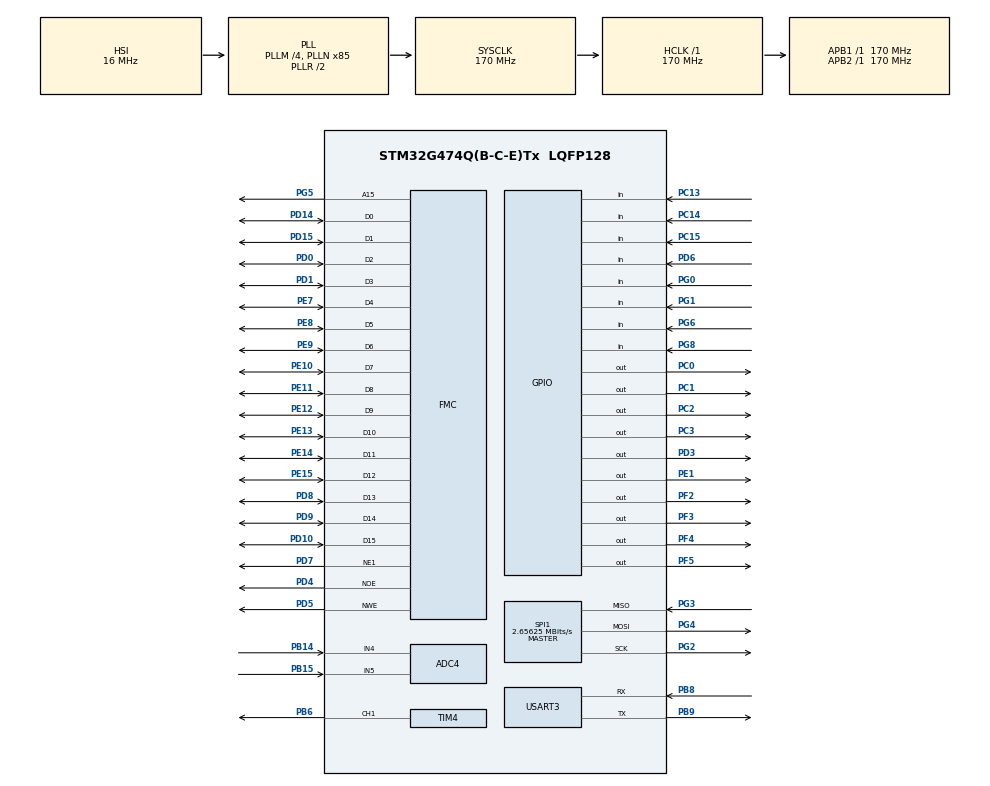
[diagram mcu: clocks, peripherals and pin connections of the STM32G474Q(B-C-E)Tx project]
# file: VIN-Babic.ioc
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ADC4.Channel-0\#ChannelRegularConversion=ADC_CHANNEL_4
ADC4.Channel-1\#ChannelRegularConversion=ADC_CHANNEL_5
ADC4.DMAContinuousRequests=ENABLE
ADC4.ExternalTrigConv=ADC_EXTERNALTRIG_T1_TRGO
ADC4.NbrOfConversion=2
ADC4.NbrOfConversionFlag=1
ADC4.OffsetNumber-0\#ChannelRegularConversion=ADC_OFFSET_NONE
ADC4.OffsetNumber-1\#ChannelRegularConversion=ADC_OFFSET_NONE
ADC4.Rank-0\#ChannelRegularConversion=1
ADC4.Rank-1\#ChannelRegularConversion=2
ADC4.SamplingTime-0\#ChannelRegularConversion=ADC_SAMPLETIME_640CYCLES_5
ADC4.SamplingTime-1\#ChannelRegularConversion=ADC_SAMPLETIME_640CYCLES_5
Dma.ADC4.1.Direction=DMA_PERIPH_TO_MEMORY
Dma.ADC4.1.EventEnable=DISABLE
Dma.ADC4.1.Instance=DMA1_Channel1
Dma.ADC4.1.MemDataAlignment=DMA_MDATAALIGN_HALFWORD
Dma.ADC4.1.MemInc=DMA_MINC_ENABLE
Dma.ADC4.1.Mode=DMA_CIRCULAR
Dma.ADC4.1.PeriphDataAlignment=DMA_PDATAALIGN_HALFWORD
Dma.ADC4.1.PeriphInc=DMA_PINC_DISABLE
Dma.ADC4.1.Polarity=HAL_DMAMUX_REQ_GEN_RISING
Dma.ADC4.1.Priority=DMA_PRIORITY_LOW
Dma.ADC4.1.RequestNumber=1
Dma.ADC4.1.SignalID=NONE
Dma.ADC4.1.SyncEnable=DISABLE
Dma.ADC4.1.SyncPolarity=HAL_DMAMUX_SYNC_NO_EVENT
Dma.ADC4.1.SyncRequestNumber=1
Dma.ADC4.1.SyncSignalID=NONE
Dma.MEMTOMEM.0.Direction=DMA_MEMORY_TO_MEMORY
Dma.MEMTOMEM.0.EventEnable=DISABLE
Dma.MEMTOMEM.0.Instance=DMA1_Channel2
Dma.MEMTOMEM.0.MemDataAlignment=DMA_MDATAALIGN_HALFWORD
Dma.MEMTOMEM.0.MemInc=DMA_MINC_DISABLE
Dma.MEMTOMEM.0.Mode=DMA_NORMAL
Dma.MEMTOMEM.0.PeriphDataAlignment=DMA_PDATAALIGN_HALFWORD
Dma.MEMTOMEM.0.PeriphInc=DMA_PINC_ENABLE
Dma.MEMTOMEM.0.Polarity=HAL_DMAMUX_REQ_GEN_RISING
Dma.MEMTOMEM.0.Priority=DMA_PRIORITY_LOW
Dma.MEMTOMEM.0.RequestNumber=1
Dma.MEMTOMEM.0.SignalID=NONE
Dma.MEMTOMEM.0.SyncEnable=DISABLE
Dma.MEMTOMEM.0.SyncPolarity=HAL_DMAMUX_SYNC_NO_EVENT
Dma.MEMTOMEM.0.SyncRequestNumber=1
Dma.MEMTOMEM.0.SyncSignalID=NONE
Dma.Request0=MEMTOMEM
Dma.Request1=ADC4
FMC.AddressSetupTime1=1
FMC.BusTurnAroundDuration1=1
FMC.DataHoldTime1=1
FMC.DataSetupTime1=1
Mcu.Family=STM32G4
Mcu.Name=STM32G474Q(B-C-E)Tx
Mcu.Package=LQFP128
NVIC.DMA1_Channel1_IRQn=true\:0\:0\:false\:false\:true\:false\:true\:true
NVIC.DMA1_Channel2_IRQn=true\:0\:0\:false\:false\:true\:true\:true\:true
NVIC.PriorityGroup=NVIC_PRIORITYGROUP_4
NVIC.TIM6_DAC_IRQn=true\:15\:0\:true\:false\:true\:true\:true\:true
NVIC.USART3_IRQn=true\:0\:0\:false\:false\:true\:true\:true\:true
PB14.Mode=IN4-Single-Ended
PB14.Signal=ADC4_IN4
PB15.Mode=IN5-Single-Ended
PB15.Signal=ADC4_IN5
PB6.Signal=S_TIM4_CH1
PB8-BOOT0.Mode=Asynchronous
PB8-BOOT0.Signal=USART3_RX
PB9.Mode=Asynchronous
PB9.Signal=USART3_TX
PC0.Signal=GPIO_Output
PC1.Signal=GPIO_Output
PC13.GPIO_PuPd=GPIO_PULLUP
PC13.Signal=GPIO_Input
PC14-OSC32_IN.GPIO_PuPd=GPIO_PULLUP
PC14-OSC32_IN.Signal=GPIO_Input
PC15-OSC32_OUT.GPIO_PuPd=GPIO_PULLUP
PC15-OSC32_OUT.Signal=GPIO_Input
PC2.Signal=GPIO_Output
PC3.GPIO_ModeDefaultOutputPP=GPIO_MODE_OUTPUT_PP
PC3.GPIO_PuPd=GPIO_PULLUP
PC3.Signal=GPIO_Output
PD0.Signal=FMC_D2_DA2
PD1.Signal=FMC_D3_DA3
PD10.Signal=FMC_D15_DA15
PD14.Signal=FMC_D0_DA0
PD15.Signal=FMC_D1_DA1
PD3.Signal=GPIO_Output
PD4.Signal=FMC_NOE
PD5.Signal=FMC_NWE
PD6.Signal=GPIO_Input
PD7.Mode=NorPsramChipSelect1_1
PD7.Signal=FMC_NE1
PD8.Signal=FMC_D13_DA13
PD9.Signal=FMC_D14_DA14
PE1.Signal=GPIO_Output
PE10.Signal=FMC_D7_DA7
PE11.Signal=FMC_D8_DA8
PE12.Signal=FMC_D9_DA9
PE13.Signal=FMC_D10_DA10
PE14.Signal=FMC_D11_DA11
PE15.Signal=FMC_D12_DA12
PE7.Signal=FMC_D4_DA4
PE8.Signal=FMC_D5_DA5
PE9.Signal=FMC_D6_DA6
PF2.Signal=GPIO_Output
PF3.Signal=GPIO_Output
PF4.Signal=GPIO_Output
PF5.Signal=GPIO_Output
PG0.GPIO_Mode=GPIO_MODE_INPUT
PG0.GPIO_PuPd=GPIO_PULLUP
PG0.Signal=GPIO_Input
PG1.GPIO_Mode=GPIO_MODE_INPUT
PG1.GPIO_PuPd=GPIO_PULLUP
PG1.Signal=GPIO_Input
PG2.Mode=Full_Duplex_Master
PG2.Signal=SPI1_SCK
PG3.Mode=Full_Duplex_Master
PG3.Signal=SPI1_MISO
PG4.Mode=Full_Duplex_Master
PG4.Signal=SPI1_MOSI
PG5.Signal=FMC_A15
PG6.GPIO_Mode=GPIO_MODE_INPUT
PG6.GPIO_PuPd=GPIO_PULLUP
PG6.Signal=GPIO_Input
PG8.GPIO_Mode=GPIO_MODE_INPUT
PG8.GPIO_PuPd=GPIO_PULLUP
PG8.Signal=GPIO_Input
ProjectManager.HeapSize=0x200
ProjectManager.StackSize=0x400
ProjectManager.TargetToolchain=STM32CubeIDE
RCC.ADC12Freq_Value=170000000
RCC.ADC345Freq_Value=170000000
RCC.AHBFreq_Value=170000000
RCC.APB1Freq_Value=170000000
RCC.APB1TimFreq_Value=170000000
RCC.APB2Freq_Value=170000000
RCC.APB2TimFreq_Value=170000000
RCC.CortexFreq_Value=170000000
RCC.EXTERNAL_CLOCK_VALUE=12288000
RCC.HCLKFreq_Value=170000000
RCC.HSE_VALUE=8000000
RCC.HSI48_VALUE=48000000
RCC.HSI_VALUE=16000000
RCC.LSE_VALUE=32768
RCC.PLLM=RCC_PLLM_DIV4
RCC.PLLN=85
RCC.PLLQ=RCC_PLLQ_DIV6
RCC.SYSCLKFreq_VALUE=170000000
RCC.SYSCLKSource=RCC_SYSCLKSOURCE_PLLCLK
RCC.USBFreq_Value=56666666.666666664
RCC.VCOOutputFreq_Value=340000000
SH.FMC_A15.0=FMC_A15,A15_1
SH.FMC_D0_DA0.0=FMC_D0,16b-d1
SH.FMC_D10_DA10.0=FMC_D10,16b-d1
SH.FMC_D11_DA11.0=FMC_D11,16b-d1
SH.FMC_D12_DA12.0=FMC_D12,16b-d1
SH.FMC_D13_DA13.0=FMC_D13,16b-d1
SH.FMC_D14_DA14.0=FMC_D14,16b-d1
SH.FMC_D15_DA15.0=FMC_D15,16b-d1
SH.FMC_D1_DA1.0=FMC_D1,16b-d1
SH.FMC_D2_DA2.0=FMC_D2,16b-d1
SH.FMC_D3_DA3.0=FMC_D3,16b-d1
SH.FMC_D4_DA4.0=FMC_D4,16b-d1
SH.FMC_D5_DA5.0=FMC_D5,16b-d1
SH.FMC_D6_DA6.0=FMC_D6,16b-d1
SH.FMC_D7_DA7.0=FMC_D7,16b-d1
SH.FMC_D8_DA8.0=FMC_D8,16b-d1
SH.FMC_D9_DA9.0=FMC_D9,16b-d1
SH.FMC_NOE.0=FMC_NOE,Lcd1
SH.FMC_NWE.0=FMC_NWE,Lcd1
SH.S_TIM4_CH1.0=TIM4_CH1,PWM Generation1 CH1
SPI1.BaudRatePrescaler=SPI_BAUDRATEPRESCALER_64
SPI1.CalculateBaudRate=2.65625 MBits/s
SPI1.DataSize=SPI_DATASIZE_8BIT
SPI1.Direction=SPI_DIRECTION_2LINES
SPI1.Mode=SPI_MODE_MASTER
SPI1.NSSPMode=SPI_NSS_PULSE_DISABLE
SPI1.VirtualType=VM_MASTER
TIM1.PeriodNoDither=9999
TIM1.TIM_MasterOutputTrigger=TIM_TRGO_UPDATE
TIM4.Channel-PWM\ Generation1\ CH1=TIM_CHANNEL_1
TIM4.PeriodNoDither=99
TIM4.Prescaler=1440
TIM6.PeriodNoDither=49999
TIM6.Prescaler=144
USART3.OverrunDisableParam=ADVFEATURE_OVERRUN_DISABLE
USART3.VirtualMode-Asynchronous=VM_ASYNC
VP_CORDIC_VS_CORDIC.Mode=CORDIC_Activate
VP_SYS_VS_DBSignals.Mode=DisableDeadBatterySignals
VP_TIM1_VS_ClockSourceINT.Mode=Internal
VP_TIM4_VS_ClockSourceINT.Mode=Internal
VP_TIM6_VS_ClockSourceINT.Mode=Enable_Timer
board=custom

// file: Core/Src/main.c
/* USER CODE BEGIN Header */
/**
 ******************************************************************************
 * @file           : main.c
 * @brief          : Main program body
 ******************************************************************************
 * @attention
 *
 * Copyright (c) 2022 STMicroelectronics.
 * All rights reserved.
 *
 * This software is licensed under terms that can be found in the LICENSE file
 * in the root directory of this software component.
 * If no LICENSE file comes with this software, it is provided AS-IS.
 *
 ******************************************************************************
 */
/* USER CODE END Header */
#include "main.h"

/* USER CODE BEGIN Includes */
#include "led.h"
#include "kbd.h"
#include "SCI.h"
#include "timing_utils.h"
#include "periodic_services.h"
#include "lcd.h"
#include "math.h"
#include <stdio.h>
#include <stdlib.h>
#include "ugui.h"
#include "podatki.h"
#include "pomozne_funkcije.h"
#include "ray_funkcije.h"
#include "joystick.h"

#include "t_brickWall.ppm"
#include "t_wall.ppm"
#include "t_wood.ppm"
#include "t_floor.ppm"
#include "hitler_sprite.ppm"

/* USER CODE END Includes */

ADC_HandleTypeDef hadc4;
DMA_HandleTypeDef hdma_adc4;

CORDIC_HandleTypeDef hcordic;

SPI_HandleTypeDef hspi1;

TIM_HandleTypeDef htim1;

DMA_HandleTypeDef hdma_memtomem_dma1_channel2;
SRAM_HandleTypeDef hsram1;

void SystemClock_Config(void);
static void MX_GPIO_Init(void);
static void MX_USART3_UART_Init(void);
static void MX_TIM6_Init(void);
static void MX_TIM4_Init(void);
static void MX_FMC_Init(void);
static void MX_DMA_Init(void);
static void MX_SPI1_Init(void);
static void MX_CORDIC_Init(void);
static void MX_ADC4_Init(void);
static void MX_TIM1_Init(void);

/* USER CODE BEGIN 0 */

int f32_to_q31(double input){
	const float Q31_MAX_F = 0x0.FFFFFFp0F;
	const float Q31_MIX_F = -1.0F;
	return (int)roundf(scalbnf(fmaxf(fminf(input, Q31_MAX_F), Q31_MIX_F), 31));
}

float q31_to_f32(int x)
{
	float out = ldexp((int32_t) x, -31);
	return out;
}

inline float sin_cordic(float a){

	int32_t inp = f32_to_q31(fmod(a, 2.0f*PI) / (2.0f * PI)) << 1;
	int32_t out;
	CORDIC_ConfigTypeDef sConfig;
	sConfig.Function = CORDIC_FUNCTION_SINE;
	sConfig.Precision = CORDIC_PRECISION_6CYCLES;
	sConfig.Scale = CORDIC_SCALE_0;
	sConfig.NbWrite = CORDIC_NBWRITE_1;
	sConfig.NbRead = CORDIC_NBREAD_1;
	sConfig.InSize = CORDIC_INSIZE_32BITS;
	sConfig.OutSize = CORDIC_OUTSIZE_32BITS;
	HAL_CORDIC_Configure(&hcordic, &sConfig);

	HAL_CORDIC_CalculateZO(&hcordic, &inp, &out, 1, 0);
	return q31_to_f32(out);
}

inline float cos_cordic(float a){

	int32_t inp = f32_to_q31(fmod(a, 2.0f*PI) / (2.0f * PI)) << 1;
	int32_t out;
	CORDIC_ConfigTypeDef sConfig;
	sConfig.Function = CORDIC_FUNCTION_COSINE;
	sConfig.Precision = CORDIC_PRECISION_6CYCLES;
	sConfig.Scale = CORDIC_SCALE_0;
	sConfig.NbWrite = CORDIC_NBWRITE_1;
	sConfig.NbRead = CORDIC_NBREAD_1;
	sConfig.InSize = CORDIC_INSIZE_32BITS;
	sConfig.OutSize = CORDIC_OUTSIZE_32BITS;
	HAL_CORDIC_Configure(&hcordic, &sConfig);

	HAL_CORDIC_CalculateZO(&hcordic, &inp, &out, 1, 0);
	return q31_to_f32(out);
}

/* USER CODE END 0 */

int main(void)
{

	/* MCU Configuration--------------------------------------------------------*/

	/* Reset of all peripherals, Initializes the Flash interface and the Systick. */
	HAL_Init();

	/* Configure the system clock */
	SystemClock_Config();

	/* Initialize all configured peripherals */
	MX_GPIO_Init();
	MX_USART3_UART_Init();
	MX_TIM6_Init();
	MX_TIM4_Init();
	MX_FMC_Init();
	MX_DMA_Init();
	MX_SPI1_Init();
	MX_CORDIC_Init();
	MX_TIM1_Init();
	/* USER CODE BEGIN 2 */
	MX_ADC4_Init();
	LED_init();
	KBD_init();
	SCI_init();
	PSERV_init();
	PSERV_enable();
	JOY_init(&hadc4, &htim1);
	LCD_Init();
	LCD_uGUI_init();
	//LED_on(LED1);
	//DEFINIRAJ SPRITE
	sp[0].tip = 0; sp[0].map = 0; sp[0].x = 1.5 * Blocksize; sp[0].y = 5 * Blocksize; sp[0].sizeX = 128; sp[0].sizeY = 128; sp[0].life = 3;
	sp[0].damadgedTime = 0; sp[0].damadgedTimeMax = 300000;
	sp[1].tip = 0; sp[1].map = 0; sp[1].x = 2.5 * Blocksize; sp[1].y = 7.5 * Blocksize; sp[1].sizeX = 128; sp[1].sizeY = 128; sp[1].life = 3;
	sp[1].damadgedTime = 0; sp[1].damadgedTimeMax = 300000;

	UG_FillFrame(0, 0, 40, s_height, C_BLACK);
	UG_FillFrame(280, 0, 40, s_height+50, C_BLACK);
	for(int c = 0;c < 20;c++)
	{
		UG_PutChar('F', 10, c*15, C_RED, C_BLACK);
		UG_PutChar('R', 20, c*15, C_RED, C_BLACK);
		UG_PutChar('I', 30, c*15, C_RED, C_BLACK);

		UG_PutChar('F', 280+10, c*15, C_RED, C_BLACK);
		UG_PutChar('E', 280+20, c*15, C_RED, C_BLACK);
	}

	//test_sprite();

	/* USER CODE END 2 */

	/* Infinite loop */
	/* USER CODE BEGIN WHILE */

	//ILI9341_SetDisplayWindow(0, 0, 240, 240);
	stopwatch_handle_t sw;
	TIMUT_stopwatch_set_time_mark(&sw);
	while (1)
	{
		//JOY_SCI_send_status();
		//printf("test");
		if(TIMUT_stopwatch_has_X_ms_passed(&sw, 50))
		{
			//drawMap();

			float dx = 0, dy = 0, d1 = 10000, d2 = 10000, rvx = 0, rvy = 0, dof = 0,  newAngle = 0, rhx = 0, rhy = 0,d = 0, rx= 0, ry=0;
			int wx = 0, wy = 0;
			KBD_scan();

			//MOVE PLAYER
			if(JOY_get_axis_position(Y) < 40)
			{
				if(JOY_get_axis_position(X) < 40) angle += 0.1;
				if(JOY_get_axis_position(X) > 60) angle -= 0.1;
			}else
			{
				if(JOY_get_axis_position(X) < 40) angle -= 0.1;
				if(JOY_get_axis_position(X) > 60) angle += 0.1;
			}
			if (angle < 0) angle = 2 * PI;
			else if (angle > 2 * PI) angle = 0;

			//POGLEJ A SE PLAYER LAHKO PREMAKNE
			int fCheck = 5;
			int fCheckX = 0, fCheckY = 0;
			if (cos_cordic(angle) < 0) fCheckX = -fCheck;
			else fCheckX = fCheck;
			if (sin_cordic(angle) < 0) fCheckY = -fCheck;
			else fCheckY = fCheck;

			if (JOY_get_axis_position(Y) > 60) {
				if(map[(int)py / 10][((int)px + fCheckX) / 10] == 0) px += 3 * cos_cordic(angle);
				if (map[((int)py + fCheckY) / 10][(int)px/ 10] == 0) py += 3 * sin_cordic(angle);
				//LED_on(LED0);
			}else LED_off(LED0);
			if (JOY_get_axis_position(Y) < 40) {
				if (map[(int)py / 10][((int)px - fCheckX) / 10] == 0) px += -3 * cos_cordic(angle);
				if (map[((int)py - fCheckY) / 10][(int)px / 10] == 0) py += -3 * sin_cordic(angle);
				//LED_on(LED0);
			}else LED_off(LED0);

			//DA LAHKO IGRALEC ODPRE VRATA
			float roka = 6;
			float rokaPosX = px + roka * cos_cordic(angle);
			float rokaPosY = py + roka * sin_cordic(angle);
			if (!KBD_get_button_state(BTN_OK) && map[(int)rokaPosY / Blocksize][(int)rokaPosX / Blocksize] == 3) map[(int)rokaPosY / Blocksize][(int)rokaPosX / Blocksize] = 0;

			for (float z = -30;z < 30;z+=1) { //LOOPEJ OD - 30STOPINJ DO 30 STOPINJ
				float vmt = 0, hmt = 0; //HORIZONTALNA IN VERTIKALNA ŠTEVILKA STENE DA VEM KATERO TEKSTURO NARISAT
				float newAngle = z * DEGREE + angle;
				if (newAngle < 0) newAngle += 2 * PI;
				else if (newAngle > 2 * PI) newAngle -= 2 * PI;

				//GLEJ GOR PA DOL
				float aTan = 1 / tanf(newAngle);
				dof = 0;
				if (newAngle >= PI) { //GLEDA GOR
					rvy = (int)py - ((int)py % Blocksize) - 0.0001;
					rvx = (py - rvy) * -aTan + px;
					dy = -Blocksize;
					dx = dy * aTan;
				}
				else if (newAngle < PI) {  //GLEDA DOL
					rvy = (int)py - ((int)py % Blocksize) + Blocksize;
					rvx = (py - rvy) * -aTan + px;
					dy = Blocksize;
					dx = dy * aTan;
				}
				else if (newAngle == 0 || newAngle == PI) { // GLEDA  CIST LECVO ALPA CIST DESNO
					rvx = px;
					rvy = py;
					dof = 15;
				}

				while (dof < 15) { //PREVER ALI SE KAM ZALETI V 15 KORAKIH
					wx = rvx / Blocksize;
					wy = rvy / Blocksize;
					if (wx > -1 && wx < sizeof(map)/sizeof(map[0]) && wy > -1 && wy < sizeof(map)/sizeof(map[0]) && map[(int)wy][(int)wx] != 0) {
						dof = 15;
						vmt = map[(int)wy][(int)wx];
					}
					else {
						rvx += dx;
						rvy += dy;
						dof++;
					}
				}
				d1 = sqrt((px - rvx) * (px - rvx) + (py - rvy) * (py - rvy));

				//GLEJ LEVO PA DESNO
				dof = 0;
				float nTan = tanf(newAngle);
				if (newAngle >= ((3 * PI) / 2) || newAngle <= PI / 2) { //GLEDA DESNO
					rhx = (int)px - ((int)px % Blocksize) + Blocksize;
					rhy = (px - rhx) * -nTan + py;
					dx = Blocksize;
					dy = dx * nTan;
				}
				else if (newAngle > PI / 2 && newAngle < (3 * PI) / 2) {  //GLEDA LEVO
					rhx = (int)px - ((int)px % Blocksize) - 0.0001;
					rhy = (px - rhx) * -nTan + py;
					dx = -Blocksize;
					dy = dx * nTan;
				}
				else if (newAngle == PI / 2 || newAngle == (3 * PI) / 2) {
					rhx = px;
					rhy = py;
					dof = 15;
				}

				while (dof < 15) { //PREVERI ALI SI SE ZALETU V 15 KORAKIH
					wx = rhx / Blocksize;
					wy = rhy / Blocksize;
					if (wx > -1 && wx < sizeof(map)/sizeof(map[0]) && wy > -1 && wy < sizeof(map)/sizeof(map[0]) && map[wy][wx] != 0) {
						dof = 15;
						hmt = map[wy][wx];
					}
					else {
						rhx += dx;
						rhy += dy;
						dof++;
					}
				}
				d2 = sqrt((px - rhx) * (px - rhx) + (py - rhy) * (py - rhy));

				//NARIŠI ZARKE IN 3D MAPO
				float shade = 1;
				if (d1 > d2) {
					d = d2;
					shade = 0.5;
					rx = rhx;
					ry = rhy;
				}
				else {
					d = d1;
					rx = rvx;
					ry = rvy;
					hmt = vmt; //DA SE OBARVAJO VSE STRANI
				}
				//NARIŠI STENE
				float lineH = (Blocksize * 100) / (d * cos_cordic(z * DEGREE)); //POPRAVI FISHEYE
				float ty_step = 32.0f / (float)lineH; //ZATO DA SE TEKSTURA ENAKOMERNO PORAZDELI
				float ty_offset = 0; //ZATO DA SE TEKSTURE LEPO PORAZDELIJO
				if (lineH > height) {
					ty_offset = (lineH - height) / 2.0f;
					lineH = height;
				}
				float lineOff = 50 - lineH / 2;
				float ty = ty_offset * ty_step; //+ (hmt - 1) * 32;
				float scale = (float)Blocksize / 32.0f;
				float tx = 0;
				if (shade == 1) {
					tx = (int)(rx / scale) % 32;
					if (newAngle < 2 * PI) tx = 31 - tx;
				}
				else {
					tx = (int)(ry / scale) % 32;
					if (newAngle > PI / 2 && newAngle < (3 * PI) / 2) tx = 31 - tx;
				}

				for (int j = 0;j < lineH;j++) {

					int pixel = ((int)ty * 32 + (int)tx) * 3;
					int red = 0, blue = 0, green = 0;
					switch ((int)hmt)
					{
					case 1:
						red = t_brickWall[pixel + 0] * shade;
						green = t_brickWall[pixel + 1] * shade;
						blue = t_brickWall[pixel + 2] * shade;
						break;
					case 2:
						red = t_wall[pixel + 0] * shade;
						green = t_wall[pixel + 1] * shade;
						blue = t_wall[pixel + 2] * shade;
						break;
					case 3:
						red = t_wood[pixel + 0] * shade;
						green = t_wood[pixel + 1] * shade;
						blue = t_wood[pixel + 2] * shade;
						break;

					default:
						break;
					}
					int wallx = (int)((float)(z+30)*width/60);
					int wally = lineOff + j;

					wallx *= s_scale;
					wallx += s_offset;

					wally *= s_scale;

					narisi_velik_kvadrat_stene(wallx, wally, create_rgb(red, green, blue));
					ty += ty_step;
				}

				//NARIŠI TLA IN STROP
				for (int y = lineOff + lineH;y < height;y++) {
					float dy = y - (height / 2.0f);
					float floorAngle = (angle - newAngle);
					if (floorAngle < 0) floorAngle += 2 * PI;
					else if (floorAngle > 2 * PI) floorAngle -= 2 * PI;
					tx = px / 0.3 + cos_cordic(newAngle) * 57.735 * 32 / dy / cos_cordic(floorAngle);
					ty = py / 0.3 + sin_cordic(newAngle) * 57.735 * 32 / dy / cos_cordic(floorAngle);

					int pixel = (((int)(ty) & 31) * 32 + ((int)(tx)&31)) * 3;
					int red = t_floor[pixel + 0] * 0.7;
					int green = t_floor[pixel + 1] * 0.7;
					int blue = t_floor[pixel + 2] * 0.7;
					int tlax = (int)((float)(z+30)*width/60);
					int tlay = y;

					tlax *= s_scale;
					tlax += s_offset;

					tlay *= s_scale;

					narisi_velik_kvadrat_stene(tlax, tlay, create_rgb(red, green, blue));

					//NARISI STROP
					pixel = (((int)(ty) & 31) * 32 + ((int)(tx) & 31)) * 3;
					red = t_wall[pixel + 0] * 0.7;
					green = t_wall[pixel + 1] * 0.7;
					blue = t_wall[pixel + 2] * 0.7;
					int stropx = (int)((float)((z+30)*width)/60);
					int stropy = height - y;

					stropx *= s_scale;
					stropx += s_offset;

					stropy *= s_scale;

					narisi_velik_kvadrat_stene(stropx, stropy, create_rgb(red, green, blue));
				}

			}

			drawGun();
			ILI9341_SetDisplayWindow(40, 0, 240, 240);
			if(ILI9341_SendData(pixels, 57600)) LED_on(LED0);
			else LED_off(LED0);
			TIMUT_stopwatch_set_time_mark(&sw);
		}

		/* USER CODE END WHILE */

	}
}

void SystemClock_Config(void)
{
	RCC_OscInitTypeDef RCC_OscInitStruct = {0};
	RCC_ClkInitTypeDef RCC_ClkInitStruct = {0};

	/** Configure the main internal regulator output voltage
	 */
	HAL_PWREx_ControlVoltageScaling(PWR_REGULATOR_VOLTAGE_SCALE1_BOOST);
	/** Initializes the RCC Oscillators according to the specified parameters
	 * in the RCC_OscInitTypeDef structure.
	 */
	RCC_OscInitStruct.OscillatorType = RCC_OSCILLATORTYPE_HSI;
	RCC_OscInitStruct.HSIState = RCC_HSI_ON;
	RCC_OscInitStruct.HSICalibrationValue = RCC_HSICALIBRATION_DEFAULT;
	RCC_OscInitStruct.PLL.PLLState = RCC_PLL_ON;
	RCC_OscInitStruct.PLL.PLLSource = RCC_PLLSOURCE_HSI;
	RCC_OscInitStruct.PLL.PLLM = RCC_PLLM_DIV4;
	RCC_OscInitStruct.PLL.PLLN = 85;
	RCC_OscInitStruct.PLL.PLLP = RCC_PLLP_DIV2;
	RCC_OscInitStruct.PLL.PLLQ = RCC_PLLQ_DIV6;
	RCC_OscInitStruct.PLL.PLLR = RCC_PLLR_DIV2;
	if (HAL_RCC_OscConfig(&RCC_OscInitStruct) != HAL_OK)
	{
		Error_Handler();
	}
	/** Initializes the CPU, AHB and APB buses clocks
	 */
	RCC_ClkInitStruct.ClockType = RCC_CLOCKTYPE_HCLK|RCC_CLOCKTYPE_SYSCLK
			|RCC_CLOCKTYPE_PCLK1|RCC_CLOCKTYPE_PCLK2;
	RCC_ClkInitStruct.SYSCLKSource = RCC_SYSCLKSOURCE_PLLCLK;
	RCC_ClkInitStruct.AHBCLKDivider = RCC_SYSCLK_DIV1;
	RCC_ClkInitStruct.APB1CLKDivider = RCC_HCLK_DIV1;
	RCC_ClkInitStruct.APB2CLKDivider = RCC_HCLK_DIV1;

	if (HAL_RCC_ClockConfig(&RCC_ClkInitStruct, FLASH_LATENCY_4) != HAL_OK)
	{
		Error_Handler();
	}
}

static void MX_ADC4_Init(void)
{

	ADC_ChannelConfTypeDef sConfig = {0};

	/** Common config
	 */
	hadc4.Instance = ADC4;
	hadc4.Init.ClockPrescaler = ADC_CLOCK_SYNC_PCLK_DIV4;
	hadc4.Init.Resolution = ADC_RESOLUTION_12B;
	hadc4.Init.DataAlign = ADC_DATAALIGN_RIGHT;
	hadc4.Init.GainCompensation = 0;
	hadc4.Init.ScanConvMode = ADC_SCAN_ENABLE;
	hadc4.Init.EOCSelection = ADC_EOC_SINGLE_CONV;
	hadc4.Init.LowPowerAutoWait = DISABLE;
	hadc4.Init.ContinuousConvMode = DISABLE;
	hadc4.Init.NbrOfConversion = 2;
	hadc4.Init.DiscontinuousConvMode = DISABLE;
	hadc4.Init.ExternalTrigConv = ADC_EXTERNALTRIG_T1_TRGO;
	hadc4.Init.ExternalTrigConvEdge = ADC_EXTERNALTRIGCONVEDGE_RISING;
	hadc4.Init.DMAContinuousRequests = ENABLE;
	hadc4.Init.Overrun = ADC_OVR_DATA_PRESERVED;
	hadc4.Init.OversamplingMode = DISABLE;
	if (HAL_ADC_Init(&hadc4) != HAL_OK)
	{
		Error_Handler();
	}
	/** Configure Regular Channel
	 */
	sConfig.Channel = ADC_CHANNEL_4;
	sConfig.Rank = ADC_REGULAR_RANK_1;
	sConfig.SamplingTime = ADC_SAMPLETIME_640CYCLES_5;
	sConfig.SingleDiff = ADC_SINGLE_ENDED;
	sConfig.OffsetNumber = ADC_OFFSET_NONE;
	sConfig.Offset = 0;
	if (HAL_ADC_ConfigChannel(&hadc4, &sConfig) != HAL_OK)
	{
		Error_Handler();
	}
	/** Configure Regular Channel
	 */
	sConfig.Channel = ADC_CHANNEL_5;
	sConfig.Rank = ADC_REGULAR_RANK_2;
	if (HAL_ADC_ConfigChannel(&hadc4, &sConfig) != HAL_OK)
	{
		Error_Handler();
	}

}

static void MX_CORDIC_Init(void)
{

	hcordic.Instance = CORDIC;
	if (HAL_CORDIC_Init(&hcordic) != HAL_OK)
	{
		Error_Handler();
	}

}

static void MX_SPI1_Init(void)
{

	/* SPI1 parameter configuration*/
	hspi1.Instance = SPI1;
	hspi1.Init.Mode = SPI_MODE_MASTER;
	hspi1.Init.Direction = SPI_DIRECTION_2LINES;
	hspi1.Init.DataSize = SPI_DATASIZE_8BIT;
	hspi1.Init.CLKPolarity = SPI_POLARITY_LOW;
	hspi1.Init.CLKPhase = SPI_PHASE_1EDGE;
	hspi1.Init.NSS = SPI_NSS_SOFT;
	hspi1.Init.BaudRatePrescaler = SPI_BAUDRATEPRESCALER_64;
	hspi1.Init.FirstBit = SPI_FIRSTBIT_MSB;
	hspi1.Init.TIMode = SPI_TIMODE_DISABLE;
	hspi1.Init.CRCCalculation = SPI_CRCCALCULATION_DISABLE;
	hspi1.Init.CRCPolynomial = 7;
	hspi1.Init.CRCLength = SPI_CRC_LENGTH_DATASIZE;
	hspi1.Init.NSSPMode = SPI_NSS_PULSE_DISABLE;
	if (HAL_SPI_Init(&hspi1) != HAL_OK)
	{
		Error_Handler();
	}

}

static void MX_TIM1_Init(void)
{

	TIM_ClockConfigTypeDef sClockSourceConfig = {0};
	TIM_MasterConfigTypeDef sMasterConfig = {0};

	htim1.Instance = TIM1;
	htim1.Init.Prescaler = 0;
	htim1.Init.CounterMode = TIM_COUNTERMODE_UP;
	htim1.Init.Period = 9999;
	htim1.Init.ClockDivision = TIM_CLOCKDIVISION_DIV1;
	htim1.Init.RepetitionCounter = 0;
	htim1.Init.AutoReloadPreload = TIM_AUTORELOAD_PRELOAD_DISABLE;
	if (HAL_TIM_Base_Init(&htim1) != HAL_OK)
	{
		Error_Handler();
	}
	sClockSourceConfig.ClockSource = TIM_CLOCKSOURCE_INTERNAL;
	if (HAL_TIM_ConfigClockSource(&htim1, &sClockSourceConfig) != HAL_OK)
	{
		Error_Handler();
	}
	sMasterConfig.MasterOutputTrigger = TIM_TRGO_UPDATE;
	sMasterConfig.MasterOutputTrigger2 = TIM_TRGO2_RESET;
	sMasterConfig.MasterSlaveMode = TIM_MASTERSLAVEMODE_DISABLE;
	if (HAL_TIMEx_MasterConfigSynchronization(&htim1, &sMasterConfig) != HAL_OK)
	{
		Error_Handler();
	}

}

static void MX_TIM4_Init(void)
{

	LL_TIM_InitTypeDef TIM_InitStruct = {0};
	LL_TIM_OC_InitTypeDef TIM_OC_InitStruct = {0};

	LL_GPIO_InitTypeDef GPIO_InitStruct = {0};

	/* Peripheral clock enable */
	LL_APB1_GRP1_EnableClock(LL_APB1_GRP1_PERIPH_TIM4);

	TIM_InitStruct.Prescaler = 1440;
	TIM_InitStruct.CounterMode = LL_TIM_COUNTERMODE_UP;
	TIM_InitStruct.Autoreload = 99;
	TIM_InitStruct.ClockDivision = LL_TIM_CLOCKDIVISION_DIV1;
	LL_TIM_Init(TIM4, &TIM_InitStruct);
	LL_TIM_DisableARRPreload(TIM4);
	LL_TIM_SetClockSource(TIM4, LL_TIM_CLOCKSOURCE_INTERNAL);
	LL_TIM_OC_EnablePreload(TIM4, LL_TIM_CHANNEL_CH1);
	TIM_OC_InitStruct.OCMode = LL_TIM_OCMODE_PWM1;
	TIM_OC_InitStruct.OCState = LL_TIM_OCSTATE_DISABLE;
	TIM_OC_InitStruct.OCNState = LL_TIM_OCSTATE_DISABLE;
	TIM_OC_InitStruct.CompareValue = 0;
	TIM_OC_InitStruct.OCPolarity = LL_TIM_OCPOLARITY_HIGH;
	LL_TIM_OC_Init(TIM4, LL_TIM_CHANNEL_CH1, &TIM_OC_InitStruct);
	LL_TIM_OC_DisableFast(TIM4, LL_TIM_CHANNEL_CH1);
	LL_TIM_SetTriggerOutput(TIM4, LL_TIM_TRGO_RESET);
	LL_TIM_DisableMasterSlaveMode(TIM4);
	LL_AHB2_GRP1_EnableClock(LL_AHB2_GRP1_PERIPH_GPIOB);
	/**TIM4 GPIO Configuration
  PB6   ------> TIM4_CH1
	 */
	GPIO_InitStruct.Pin = LL_GPIO_PIN_6;
	GPIO_InitStruct.Mode = LL_GPIO_MODE_ALTERNATE;
	GPIO_InitStruct.Speed = LL_GPIO_SPEED_FREQ_LOW;
	GPIO_InitStruct.OutputType = LL_GPIO_OUTPUT_PUSHPULL;
	GPIO_InitStruct.Pull = LL_GPIO_PULL_NO;
	GPIO_InitStruct.Alternate = LL_GPIO_AF_2;
	LL_GPIO_Init(GPIOB, &GPIO_InitStruct);

}

static void MX_TIM6_Init(void)
{

	LL_TIM_InitTypeDef TIM_InitStruct = {0};

	/* Peripheral clock enable */
	LL_APB1_GRP1_EnableClock(LL_APB1_GRP1_PERIPH_TIM6);

	/* TIM6 interrupt Init */
	NVIC_SetPriority(TIM6_DAC_IRQn, NVIC_EncodePriority(NVIC_GetPriorityGrouping(),15, 0));
	NVIC_EnableIRQ(TIM6_DAC_IRQn);

	TIM_InitStruct.Prescaler = 144;
	TIM_InitStruct.CounterMode = LL_TIM_COUNTERMODE_UP;
	TIM_InitStruct.Autoreload = 49999;
	LL_TIM_Init(TIM6, &TIM_InitStruct);
	LL_TIM_DisableARRPreload(TIM6);
	LL_TIM_SetTriggerOutput(TIM6, LL_TIM_TRGO_RESET);
	LL_TIM_DisableMasterSlaveMode(TIM6);

}

static void MX_USART3_UART_Init(void)
{

	LL_USART_InitTypeDef USART_InitStruct = {0};

	LL_GPIO_InitTypeDef GPIO_InitStruct = {0};
	RCC_PeriphCLKInitTypeDef PeriphClkInit = {0};

	/** Initializes the peripherals clocks
	 */
	PeriphClkInit.PeriphClockSelection = RCC_PERIPHCLK_USART3;
	PeriphClkInit.Usart3ClockSelection = RCC_USART3CLKSOURCE_PCLK1;
	if (HAL_RCCEx_PeriphCLKConfig(&PeriphClkInit) != HAL_OK)
	{
		Error_Handler();
	}

	/* Peripheral clock enable */
	LL_APB1_GRP1_EnableClock(LL_APB1_GRP1_PERIPH_USART3);

	LL_AHB2_GRP1_EnableClock(LL_AHB2_GRP1_PERIPH_GPIOB);
	/**USART3 GPIO Configuration
  PB8-BOOT0   ------> USART3_RX
  PB9   ------> USART3_TX
	 */
	GPIO_InitStruct.Pin = LL_GPIO_PIN_8;
	GPIO_InitStruct.Mode = LL_GPIO_MODE_ALTERNATE;
	GPIO_InitStruct.Speed = LL_GPIO_SPEED_FREQ_LOW;
	GPIO_InitStruct.OutputType = LL_GPIO_OUTPUT_PUSHPULL;
	GPIO_InitStruct.Pull = LL_GPIO_PULL_NO;
	GPIO_InitStruct.Alternate = LL_GPIO_AF_7;
	LL_GPIO_Init(GPIOB, &GPIO_InitStruct);

	GPIO_InitStruct.Pin = LL_GPIO_PIN_9;
	GPIO_InitStruct.Mode = LL_GPIO_MODE_ALTERNATE;
	GPIO_InitStruct.Speed = LL_GPIO_SPEED_FREQ_LOW;
	GPIO_InitStruct.OutputType = LL_GPIO_OUTPUT_PUSHPULL;
	GPIO_InitStruct.Pull = LL_GPIO_PULL_NO;
	GPIO_InitStruct.Alternate = LL_GPIO_AF_7;
	LL_GPIO_Init(GPIOB, &GPIO_InitStruct);

	/* USART3 interrupt Init */
	NVIC_SetPriority(USART3_IRQn, NVIC_EncodePriority(NVIC_GetPriorityGrouping(),0, 0));
	NVIC_EnableIRQ(USART3_IRQn);

	USART_InitStruct.PrescalerValue = LL_USART_PRESCALER_DIV1;
	USART_InitStruct.BaudRate = 115200;
	USART_InitStruct.DataWidth = LL_USART_DATAWIDTH_8B;
	USART_InitStruct.StopBits = LL_USART_STOPBITS_1;
	USART_InitStruct.Parity = LL_USART_PARITY_NONE;
	USART_InitStruct.TransferDirection = LL_USART_DIRECTION_TX_RX;
	USART_InitStruct.HardwareFlowControl = LL_USART_HWCONTROL_NONE;
	USART_InitStruct.OverSampling = LL_USART_OVERSAMPLING_16;
	LL_USART_Init(USART3, &USART_InitStruct);
	LL_USART_SetTXFIFOThreshold(USART3, LL_USART_FIFOTHRESHOLD_1_8);
	LL_USART_SetRXFIFOThreshold(USART3, LL_USART_FIFOTHRESHOLD_1_8);
	LL_USART_DisableFIFO(USART3);
	LL_USART_DisableOverrunDetect(USART3);
	LL_USART_ConfigAsyncMode(USART3);

	LL_USART_Enable(USART3);

	/* Polling USART3 initialisation */
	while((!(LL_USART_IsActiveFlag_TEACK(USART3))) || (!(LL_USART_IsActiveFlag_REACK(USART3))))
	{
	}

}

static void MX_DMA_Init(void)
{

	/* DMA controller clock enable */
	__HAL_RCC_DMAMUX1_CLK_ENABLE();
	__HAL_RCC_DMA1_CLK_ENABLE();

	/* Configure DMA request hdma_memtomem_dma1_channel2 on DMA1_Channel2 */
	hdma_memtomem_dma1_channel2.Instance = DMA1_Channel2;
	hdma_memtomem_dma1_channel2.Init.Request = DMA_REQUEST_MEM2MEM;
	hdma_memtomem_dma1_channel2.Init.Direction = DMA_MEMORY_TO_MEMORY;
	hdma_memtomem_dma1_channel2.Init.PeriphInc = DMA_PINC_ENABLE;
	hdma_memtomem_dma1_channel2.Init.MemInc = DMA_MINC_DISABLE;
	hdma_memtomem_dma1_channel2.Init.PeriphDataAlignment = DMA_PDATAALIGN_HALFWORD;
	hdma_memtomem_dma1_channel2.Init.MemDataAlignment = DMA_MDATAALIGN_HALFWORD;
	hdma_memtomem_dma1_channel2.Init.Mode = DMA_NORMAL;
	hdma_memtomem_dma1_channel2.Init.Priority = DMA_PRIORITY_LOW;
	if (HAL_DMA_Init(&hdma_memtomem_dma1_channel2) != HAL_OK)
	{
		Error_Handler( );
	}

	/* DMA interrupt init */
	/* DMA1_Channel1_IRQn interrupt configuration */
	HAL_NVIC_SetPriority(DMA1_Channel1_IRQn, 0, 0);
	HAL_NVIC_EnableIRQ(DMA1_Channel1_IRQn);
	/* DMA1_Channel2_IRQn interrupt configuration */
	HAL_NVIC_SetPriority(DMA1_Channel2_IRQn, 0, 0);
	HAL_NVIC_EnableIRQ(DMA1_Channel2_IRQn);

}

/* FMC initialization function */
static void MX_FMC_Init(void)
{

	FMC_NORSRAM_TimingTypeDef Timing = {0};

	/** Perform the SRAM1 memory initialization sequence
	 */
	hsram1.Instance = FMC_NORSRAM_DEVICE;
	hsram1.Extended = FMC_NORSRAM_EXTENDED_DEVICE;
	/* hsram1.Init */
	hsram1.Init.NSBank = FMC_NORSRAM_BANK1;
	hsram1.Init.DataAddressMux = FMC_DATA_ADDRESS_MUX_DISABLE;
	hsram1.Init.MemoryType = FMC_MEMORY_TYPE_SRAM;
	hsram1.Init.MemoryDataWidth = FMC_NORSRAM_MEM_BUS_WIDTH_16;
	hsram1.Init.BurstAccessMode = FMC_BURST_ACCESS_MODE_DISABLE;
	hsram1.Init.WaitSignalPolarity = FMC_WAIT_SIGNAL_POLARITY_LOW;
	hsram1.Init.WaitSignalActive = FMC_WAIT_TIMING_BEFORE_WS;
	hsram1.Init.WriteOperation = FMC_WRITE_OPERATION_ENABLE;
	hsram1.Init.WaitSignal = FMC_WAIT_SIGNAL_DISABLE;
	hsram1.Init.ExtendedMode = FMC_EXTENDED_MODE_DISABLE;
	hsram1.Init.AsynchronousWait = FMC_ASYNCHRONOUS_WAIT_DISABLE;
	hsram1.Init.WriteBurst = FMC_WRITE_BURST_DISABLE;
	hsram1.Init.ContinuousClock = FMC_CONTINUOUS_CLOCK_SYNC_ONLY;
	hsram1.Init.WriteFifo = FMC_WRITE_FIFO_ENABLE;
	hsram1.Init.NBLSetupTime = 0;
	hsram1.Init.PageSize = FMC_PAGE_SIZE_NONE;
	hsram1.Init.MaxChipSelectPulse = DISABLE;
	/* Timing */
	Timing.AddressSetupTime = 1;
	Timing.AddressHoldTime = 15;
	Timing.DataSetupTime = 1;
	Timing.DataHoldTime = 1;
	Timing.BusTurnAroundDuration = 1;
	Timing.CLKDivision = 16;
	Timing.DataLatency = 17;
	Timing.AccessMode = FMC_ACCESS_MODE_A;
	/* ExtTiming */

	if (HAL_SRAM_Init(&hsram1, &Timing, NULL) != HAL_OK)
	{
		Error_Handler( );
	}

}

static void MX_GPIO_Init(void)
{
	LL_GPIO_InitTypeDef GPIO_InitStruct = {0};

	/* GPIO Ports Clock Enable */
	LL_AHB2_GRP1_EnableClock(LL_AHB2_GRP1_PERIPH_GPIOC);
	LL_AHB2_GRP1_EnableClock(LL_AHB2_GRP1_PERIPH_GPIOF);
	LL_AHB2_GRP1_EnableClock(LL_AHB2_GRP1_PERIPH_GPIOE);
	LL_AHB2_GRP1_EnableClock(LL_AHB2_GRP1_PERIPH_GPIOB);
	LL_AHB2_GRP1_EnableClock(LL_AHB2_GRP1_PERIPH_GPIOD);
	LL_AHB2_GRP1_EnableClock(LL_AHB2_GRP1_PERIPH_GPIOG);

	/**/
	LL_GPIO_ResetOutputPin(GPIOF, LL_GPIO_PIN_3);

	/**/
	LL_GPIO_ResetOutputPin(GPIOF, LL_GPIO_PIN_4);

	/**/
	LL_GPIO_ResetOutputPin(GPIOF, LL_GPIO_PIN_5);

	/**/
	LL_GPIO_ResetOutputPin(GPIOC, LL_GPIO_PIN_0);

	/**/
	LL_GPIO_ResetOutputPin(GPIOC, LL_GPIO_PIN_1);

	/**/
	LL_GPIO_ResetOutputPin(GPIOC, LL_GPIO_PIN_2);

	/**/
	LL_GPIO_ResetOutputPin(GPIOC, LL_GPIO_PIN_3);

	/**/
	LL_GPIO_ResetOutputPin(GPIOF, LL_GPIO_PIN_2);

	/**/
	LL_GPIO_ResetOutputPin(GPIOD, LL_GPIO_PIN_3);

	/**/
	LL_GPIO_ResetOutputPin(GPIOE, LL_GPIO_PIN_1);

	/**/
	GPIO_InitStruct.Pin = LL_GPIO_PIN_13;
	GPIO_InitStruct.Mode = LL_GPIO_MODE_INPUT;
	GPIO_InitStruct.Pull = LL_GPIO_PULL_UP;
	LL_GPIO_Init(GPIOC, &GPIO_InitStruct);

	/**/
	GPIO_InitStruct.Pin = LL_GPIO_PIN_14;
	GPIO_InitStruct.Mode = LL_GPIO_MODE_INPUT;
	GPIO_InitStruct.Pull = LL_GPIO_PULL_UP;
	LL_GPIO_Init(GPIOC, &GPIO_InitStruct);

	/**/
	GPIO_InitStruct.Pin = LL_GPIO_PIN_15;
	GPIO_InitStruct.Mode = LL_GPIO_MODE_INPUT;
	GPIO_InitStruct.Pull = LL_GPIO_PULL_UP;
	LL_GPIO_Init(GPIOC, &GPIO_InitStruct);

	/**/
	GPIO_InitStruct.Pin = LL_GPIO_PIN_3;
	GPIO_InitStruct.Mode = LL_GPIO_MODE_OUTPUT;
	GPIO_InitStruct.Speed = LL_GPIO_SPEED_FREQ_LOW;
	GPIO_InitStruct.OutputType = LL_GPIO_OUTPUT_PUSHPULL;
	GPIO_InitStruct.Pull = LL_GPIO_PULL_NO;
	LL_GPIO_Init(GPIOF, &GPIO_InitStruct);

	/**/
	GPIO_InitStruct.Pin = LL_GPIO_PIN_4;
	GPIO_InitStruct.Mode = LL_GPIO_MODE_OUTPUT;
	GPIO_InitStruct.Speed = LL_GPIO_SPEED_FREQ_LOW;
	GPIO_InitStruct.OutputType = LL_GPIO_OUTPUT_PUSHPULL;
	GPIO_InitStruct.Pull = LL_GPIO_PULL_NO;
	LL_GPIO_Init(GPIOF, &GPIO_InitStruct);

	/**/
	GPIO_InitStruct.Pin = LL_GPIO_PIN_5;
	GPIO_InitStruct.Mode = LL_GPIO_MODE_OUTPUT;
	GPIO_InitStruct.Speed = LL_GPIO_SPEED_FREQ_LOW;
	GPIO_InitStruct.OutputType = LL_GPIO_OUTPUT_PUSHPULL;
	GPIO_InitStruct.Pull = LL_GPIO_PULL_NO;
	LL_GPIO_Init(GPIOF, &GPIO_InitStruct);

	/**/
	GPIO_InitStruct.Pin = LL_GPIO_PIN_0;
	GPIO_InitStruct.Mode = LL_GPIO_MODE_OUTPUT;
	GPIO_InitStruct.Speed = LL_GPIO_SPEED_FREQ_LOW;
	GPIO_InitStruct.OutputType = LL_GPIO_OUTPUT_PUSHPULL;
	GPIO_InitStruct.Pull = LL_GPIO_PULL_NO;
	LL_GPIO_Init(GPIOC, &GPIO_InitStruct);

	/**/
	GPIO_InitStruct.Pin = LL_GPIO_PIN_1;
	GPIO_InitStruct.Mode = LL_GPIO_MODE_OUTPUT;
	GPIO_InitStruct.Speed = LL_GPIO_SPEED_FREQ_LOW;
	GPIO_InitStruct.OutputType = LL_GPIO_OUTPUT_PUSHPULL;
	GPIO_InitStruct.Pull = LL_GPIO_PULL_NO;
	LL_GPIO_Init(GPIOC, &GPIO_InitStruct);

	/**/
	GPIO_InitStruct.Pin = LL_GPIO_PIN_2;
	GPIO_InitStruct.Mode = LL_GPIO_MODE_OUTPUT;
	GPIO_InitStruct.Speed = LL_GPIO_SPEED_FREQ_LOW;
	GPIO_InitStruct.OutputType = LL_GPIO_OUTPUT_PUSHPULL;
	GPIO_InitStruct.Pull = LL_GPIO_PULL_NO;
	LL_GPIO_Init(GPIOC, &GPIO_InitStruct);

	/**/
	GPIO_InitStruct.Pin = LL_GPIO_PIN_3;
	GPIO_InitStruct.Mode = LL_GPIO_MODE_OUTPUT;
	GPIO_InitStruct.Speed = LL_GPIO_SPEED_FREQ_LOW;
	GPIO_InitStruct.OutputType = LL_GPIO_OUTPUT_PUSHPULL;
	GPIO_InitStruct.Pull = LL_GPIO_PULL_UP;
	LL_GPIO_Init(GPIOC, &GPIO_InitStruct);

	/**/
	GPIO_InitStruct.Pin = LL_GPIO_PIN_2;
	GPIO_InitStruct.Mode = LL_GPIO_MODE_OUTPUT;
	GPIO_InitStruct.Speed = LL_GPIO_SPEED_FREQ_LOW;
	GPIO_InitStruct.OutputType = LL_GPIO_OUTPUT_PUSHPULL;
	GPIO_InitStruct.Pull = LL_GPIO_PULL_NO;
	LL_GPIO_Init(GPIOF, &GPIO_InitStruct);

	/**/
	GPIO_InitStruct.Pin = LL_GPIO_PIN_0;
	GPIO_InitStruct.Mode = LL_GPIO_MODE_INPUT;
	GPIO_InitStruct.Pull = LL_GPIO_PULL_UP;
	LL_GPIO_Init(GPIOG, &GPIO_InitStruct);

	/**/
	GPIO_InitStruct.Pin = LL_GPIO_PIN_1;
	GPIO_InitStruct.Mode = LL_GPIO_MODE_INPUT;
	GPIO_InitStruct.Pull = LL_GPIO_PULL_UP;
	LL_GPIO_Init(GPIOG, &GPIO_InitStruct);

	/**/
	GPIO_InitStruct.Pin = LL_GPIO_PIN_6;
	GPIO_InitStruct.Mode = LL_GPIO_MODE_INPUT;
	GPIO_InitStruct.Pull = LL_GPIO_PULL_UP;
	LL_GPIO_Init(GPIOG, &GPIO_InitStruct);

	/**/
	GPIO_InitStruct.Pin = LL_GPIO_PIN_8;
	GPIO_InitStruct.Mode = LL_GPIO_MODE_INPUT;
	GPIO_InitStruct.Pull = LL_GPIO_PULL_UP;
	LL_GPIO_Init(GPIOG, &GPIO_InitStruct);

	/**/
	GPIO_InitStruct.Pin = LL_GPIO_PIN_3;
	GPIO_InitStruct.Mode = LL_GPIO_MODE_OUTPUT;
	GPIO_InitStruct.Speed = LL_GPIO_SPEED_FREQ_LOW;
	GPIO_InitStruct.OutputType = LL_GPIO_OUTPUT_PUSHPULL;
	GPIO_InitStruct.Pull = LL_GPIO_PULL_NO;
	LL_GPIO_Init(GPIOD, &GPIO_InitStruct);

	/**/
	GPIO_InitStruct.Pin = LL_GPIO_PIN_6;
	GPIO_InitStruct.Mode = LL_GPIO_MODE_INPUT;
	GPIO_InitStruct.Pull = LL_GPIO_PULL_NO;
	LL_GPIO_Init(GPIOD, &GPIO_InitStruct);

	/**/
	GPIO_InitStruct.Pin = LL_GPIO_PIN_1;
	GPIO_InitStruct.Mode = LL_GPIO_MODE_OUTPUT;
	GPIO_InitStruct.Speed = LL_GPIO_SPEED_FREQ_LOW;
	GPIO_InitStruct.OutputType = LL_GPIO_OUTPUT_PUSHPULL;
	GPIO_InitStruct.Pull = LL_GPIO_PULL_NO;
	LL_GPIO_Init(GPIOE, &GPIO_InitStruct);

}

void Error_Handler(void)
{
	__disable_irq();
	while (1)
	{
	}
}
